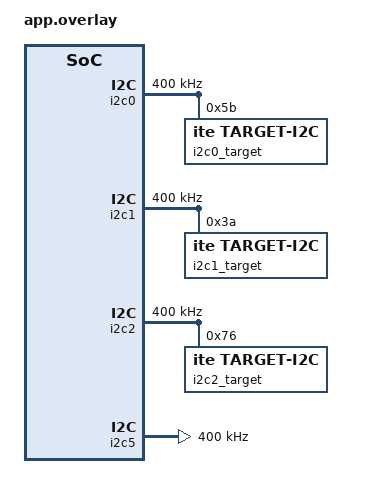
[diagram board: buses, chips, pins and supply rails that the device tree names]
/delete-node/ &slot0_partition;
/delete-node/ &slot1_partition;
/delete-node/ &storage_partition;
/delete-node/ &flashctrl;

/ {
	chosen {
		zephyr,flash = &flash0;
		zephyr,flash-controller = &flashctrl;
		zephyr,code-partition = &slot1_partition;
	};
	soc {
		flashctrl: flash-controller@f01000 {
			compatible = "ite,it8xxx2-flash-controller";
			reg = <0x00f01000 0x100>;
			#address-cells = <1>;
			#size-cells = <1>;

			flash0: flash@80000000 {
				compatible = "soc-nv-flash";
				reg = <0x80000000 0x100000>;
				erase-block-size = <4096>;
				write-block-size = <4>;
			};
		};
	};
};

&flash0 {
	partitions {
		compatible = "fixed-partitions";
		#address-cells = <1>;
		#size-cells = <1>;

		slot0_partition: partition@0 {
			label = "nist";
			reg = <0x0000 0x8000>;
		};

		slot1_partition: partition@8000 {
			label = "app";
			reg = <0x8000 0xF8000>;
		};
	};
};

&i2c0 {
	status = "okay";
	clock-frequency = <I2C_BITRATE_FAST>;
	pinctrl-0 = <&i2c0_clk_gpb3_default
		     &i2c0_data_gpb4_default>;
	pinctrl-names = "default";
	target-enable;
	i2c0_target: target@5b {
		compatible = "ite,target-i2c";
		reg = <0x5b>;
	};
};

&i2c1 {
	status = "okay";
	clock-frequency = <I2C_BITRATE_FAST>;
	pinctrl-0 = <&i2c1_clk_gpc1_default
		     &i2c1_data_gpc2_default>;
	pinctrl-names = "default";
	target-enable;
	i2c1_target: target@3a {
		compatible = "ite,target-i2c";
		reg = <0x3a>;
	};
};

&i2c2 {
	status = "okay";
	clock-frequency = <I2C_BITRATE_FAST>;
	pinctrl-0 = <&i2c2_clk_gpf6_default
		     &i2c2_data_gpf7_default>;
	pinctrl-names = "default";
	target-enable;
	i2c2_target: target@76 {
		compatible = "ite,target-i2c";
		reg = <0x76>;
	};
};

&i2c5 {
	status = "okay";
	clock-frequency = <I2C_BITRATE_FAST>;
	pinctrl-0 = <&i2c5_clk_gpa4_default
			 &i2c5_data_gpa5_default>;
	pinctrl-names = "default";
};

&pinctrl {
	i2c0_clk_gpb3_default: i2c0_clk_gpb3_default {
		gpio-voltage = "1v8";
	};

	i2c0_data_gpb4_default: i2c0_data_gpb4_default {
		gpio-voltage = "1v8";
	};

	i2c1_clk_gpc1_default: i2c1_clk_gpc1_default {
		gpio-voltage = "1v8";
	};

	i2c1_data_gpc2_default: i2c1_data_gpc2_default {
		gpio-voltage = "1v8";
	};

	i2c2_clk_gpf6_default: i2c2_clk_gpf6_default {
		gpio-voltage = "1v8";
	};

	i2c2_data_gpf7_default: i2c2_data_gpf7_default {
		gpio-voltage = "1v8";
	};

	i2c5_clk_gpa4_default: i2c5_clk_gpa4_default {
		gpio-voltage = "1v8";
	};
	
	i2c5_data_gpa5_default: i2c5_data_gpa5_default {
		gpio-voltage = "1v8";
	};
};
